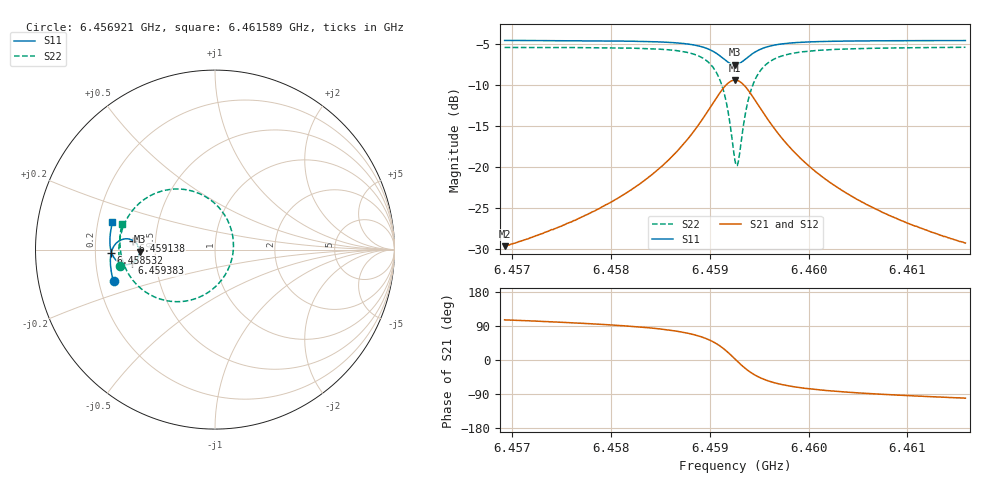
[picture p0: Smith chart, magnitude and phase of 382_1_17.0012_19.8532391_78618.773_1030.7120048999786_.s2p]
#  HZ  S  RI  R  50.00
! Rohde & Schwarz Vector Network Analyzer
! Rohde-Schwarz,ZNB20-2Port,1311601062101988,3.16
! Created: UTC 3/20/2024, 11:09:10 PM
! freq[Hz]  re:S11  im:S11  re:S21  im:S21  re:S12  im:S12  re:S22  im:S22
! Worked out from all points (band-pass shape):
!   401 points, 6.456921 GHz to 6.461589 GHz, reference 50 ohm
!   highest |S21| = -9.37 dB at 6.459255 GHz (marker M1); lowest = -29.6 dB at 6.456921 GHz (marker M2)
!   |S21| within 3 dB of the highest: 6.459022 GHz to 6.459488 GHz (466.7 kHz wide, 0.00723 % of centre)
!   lowest |S11| = -7.5 dB at 6.459255 GHz (marker M3), VSWR 2.45, Z = 20.4 - j0.572 ohm
!   |S11| at or under -10 dB: nowhere
!   |S22| runs from -19.8 to -5.4 dB; largest |S21 - S12| = 0.013
!   S11 on the Smith chart (normalised r, x): 6.456921 GHz: 0.26, -0.14; 6.458532 GHz: 0.27, -0.01; 6.459138 GHz: 0.37, +0.05; 6.459383 GHz: 0.36, -0.07; 6.461589 GHz: 0.26, +0.12
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6.4569214e9  -0.5652 -0.1766  -0.00917 0.0318  -0.0074 0.0318  -0.5291 -0.0894
6.4577032e9  -0.5799 -0.1085  -0.00585 0.0495  -0.00354 0.0489  -0.5356 0.000622
6.4580765e9  -0.5832 -0.0718  -0.00139 0.0653  0.00169 0.0642  -0.5302 0.0575
6.4584849e9  -0.5799 -0.0243  0.0132 0.0972  0.0172 0.0945  -0.5039 0.1452
6.4585316e9  -0.5785 -0.0179  0.0167 0.1025  0.0206 0.0997  -0.4978 0.1583
6.4587417e9  -0.5665 0.0139  0.0422 0.1339  0.0463 0.1292  -0.45 0.2294
6.4588933e9  -0.5457 0.0403  0.084 0.1639  0.0873 0.1574  -0.373 0.2933
6.459045e9  -0.5001 0.0601  0.1746 0.1829  0.1755 0.1757  -0.2079 0.3378
6.4591384e9  -0.4561 0.0503  0.2631 0.1527  0.2634 0.1469  -0.044 0.2895
6.4591851e9  -0.4353 0.0318  0.3063 0.1108  0.3075 0.1056  0.038 0.2151
6.4592551e9  -0.4206 -0.0115  0.3395 0.0155  0.3429 0.00877  0.1025 0.0389
6.4592784e9  -0.4222 -0.0273  0.3376 -0.0192  0.3411 -0.0273  0.099 -0.0268
6.4592901e9  -0.4243 -0.0348  0.334 -0.0362  0.3378 -0.0449  0.0922 -0.0587
6.4593367e9  -0.4397 -0.0604  0.3062 -0.0951  0.3083 -0.1067  0.0362 -0.1701
6.4593834e9  -0.4614 -0.0764  0.265 -0.1357  0.2642 -0.1485  -0.0467 -0.2441
6.4594768e9  -0.5041 -0.083  0.1816 -0.1667  0.1758 -0.178  -0.2121 -0.2903
6.4596285e9  -0.5474 -0.0626  0.0953 -0.1536  0.087 -0.1596  -0.377 -0.2428
6.4597918e9  -0.5686 -0.0351  0.051 -0.1262  0.0436 -0.1291  -0.4564 -0.1723
6.4600369e9  -0.581 0.000429  0.0222 -0.0955  0.0165 -0.0961  -0.504 -0.0911
6.4603752e9  -0.5856 0.0404  0.0067 -0.0698  0.00272 -0.0695  -0.5251 -0.0149
6.4608186e9  -0.5837 0.0848  -0.00135 -0.0509  -0.00412 -0.0502  -0.5297 0.0551
6.4615888e9  -0.5711 0.1527  -0.0064 -0.034  -0.00811 -0.0331  -0.5183 0.1449
